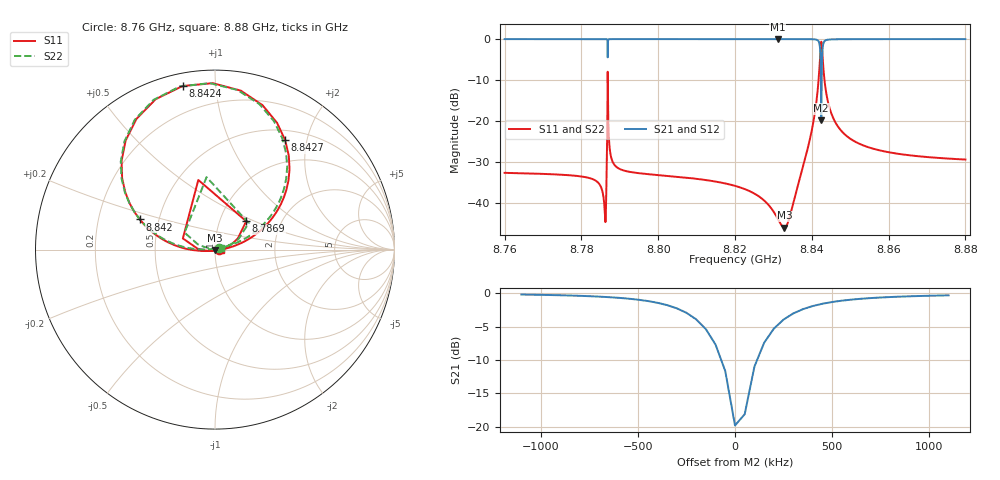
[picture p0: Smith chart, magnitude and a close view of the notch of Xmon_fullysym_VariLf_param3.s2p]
! Sonnet Data File
! From: emgraph Version : 16.52
! From Project: 171117_Xmon_fullysym
! Data is De-embedded
! Data File Written: 11/27/2017 00:27:55
!< HDATE 11/26/2017 21:47:59
!< MDATE 11/26/2017 21:47:59
!< PARAMS
!< Lj = 11.0
!< Gap = 1.0
!< Pwid = 2000.0
!< Airgap = 6.0
!< Width = 10.0
!< Lj1 = 10.66
!< END PARAMS
# GHZ S MA R 50.90000
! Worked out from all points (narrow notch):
!   2401 points, 8.76 GHz to 8.88 GHz, reference 50.9 ohm
!   highest |S21| = 0.00 dB at 8.8311 GHz (marker M1); lowest = -19.8 dB at 8.8424 GHz (marker M2)
!   notch at M2: 19.8 dB deep, 188 kHz wide at half that depth
!   lowest |S11| = -46.1 dB at 8.8329 GHz (marker M3), VSWR 1.01, Z = 51 - j0.502 ohm
!   |S11| at or under -10 dB: start of sweep to 8.786834 GHz; 8.7869 GHz to 8.8418 GHz (54.89 MHz wide, 0.623 % of centre); 8.843299 GHz to end of sweep
!   |S22| runs from -45.9 to -0.6 dB; largest |S21 - S12| = 0
!   S11 on the Smith chart (normalised r, x): 8.76 GHz: 1.05, -0.00; 8.7869 GHz: 1.34, +0.45; 8.842 GHz: 0.39, +0.16; 8.8424 GHz: 0.06, +0.82; 8.8427 GHz: 0.64, +1.64; 8.88 GHz: 1.07, -0.00
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8.76  0.02317 -3.6  0.9997 -80.6  0.9997 -80.6  0.02317 22.3
!< P1 F=8.76 Eeff=(6.44841381 -2.9796e-5) Z0=(50.9085048 1.17026e-4) R=0.0 C=0.0
!< P2 F=8.76 Eeff=(6.44841381 -2.9796e-5) Z0=(50.9085048 1.17026e-4) R=0.0 C=0.0
8.78  0.02092 -5.5  0.9998 -81.0  0.9998 -81.0  0.02092 23.7
8.78435  0.0176 -9.1  0.9998 -81.2  0.9998 -81.2  0.01763 27.0
8.7859  0.01014 -25.8  0.9997 -81.7  0.9997 -81.7  0.01047 44.7
8.7869  0.2352 42.3  0.8956 -69.2  0.8956 -69.2  0.239 38.2
8.7873  0.04955 8.0  0.9976 -79.3  0.9976 -79.3  0.04985 16.0
8.788  0.03275 2.1  0.9993 -80.3  0.9993 -80.3  0.03282 17.9
8.78975  0.02615 -1.5  0.9996 -80.7  0.9996 -80.7  0.02617 20.1
8.8  0.02175 -4.7  0.9998 -81.1  0.9998 -81.1  0.02176 22.5
8.82  0.01606 -10.2  0.9999 -81.6  0.9999 -81.6  0.01607 27.0
8.8311  0.006421 -43.5  0.9999 -82.4  0.9999 -82.4  0.006482 59.2
8.83285  0.004954 -83.5  0.9999 -82.6  0.9999 -82.6  0.005062 98.3
8.84  0.07691 -174.4  0.9963 -87.1  0.9963 -87.1  0.07702 179.1
8.84145  0.2178 174.3  0.9715 -95.3  0.9715 -95.3  0.218 172.8
8.842  0.4514 158.2  0.8737 -109.5  0.8737 -109.5  0.4517 158.1
8.84245  0.9291 101.2  0.1022 -126.8  0.1022 -126.8  0.9297 102.2
8.8427  0.7242 57.3  0.6345 -36.5  0.6345 -36.5  0.7247 58.8
8.84315  0.371 29.3  0.9192 -60.9  0.9192 -60.9  0.3712 31.7
8.8438  0.2136 18.5  0.9743 -70.4  0.9743 -70.4  0.2137 22.1
8.8469  0.08419 8.3  0.9962 -77.9  0.9962 -77.9  0.08422 16.2
8.86  0.04141 2.0  0.9991 -80.5  0.9991 -80.5  0.04141 17.0
8.88  0.0337 -0.3  0.9994 -81.1  0.9994 -81.1  0.0337 18.0
